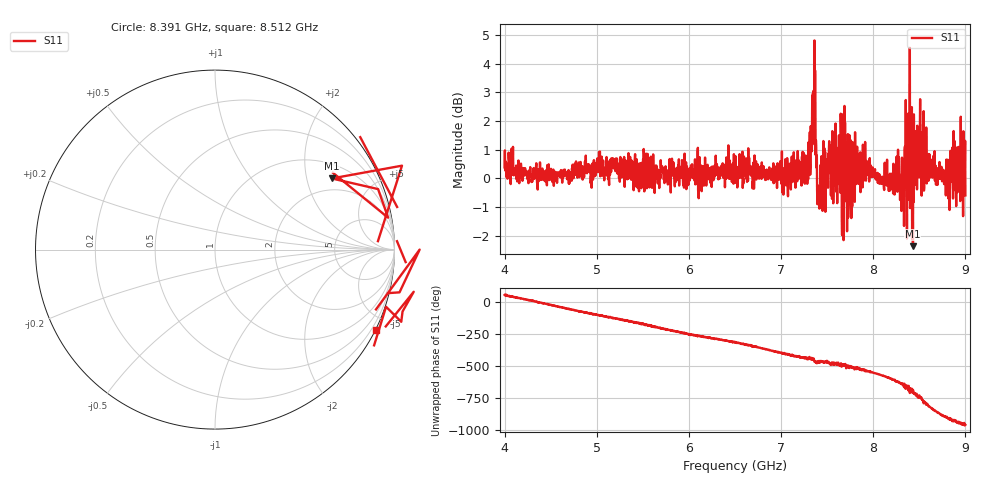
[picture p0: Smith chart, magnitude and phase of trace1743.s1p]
! Created with skrf 1.8.0 (http://scikit-rf.org).
# Hz S RI R 50.0
!freq ReS11 ImS11
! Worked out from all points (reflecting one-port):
!   1601 points, 4 GHz to 9 GHz, reference 50 ohm
!   lowest |S11| = -2.4 dB at 8.431 GHz (marker M1), VSWR 7.40, Z = 75.1 + j142 ohm
!   phase of S11 starts at 52 deg and turns -1014 deg over the sweep
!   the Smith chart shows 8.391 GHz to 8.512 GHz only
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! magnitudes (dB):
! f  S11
! 4 GHz  0.4
! 4.625 GHz  -0.1
! 5.25 GHz  -0.1
! 5.875 GHz  -0.1
! 6.5 GHz  0.5
! 7.125 GHz  0.3
! 7.294 GHz  0.0
! 7.347 GHz  2.9
! 7.362 GHz  4.8
! 7.4 GHz  -0.2
! 7.409 GHz  -0.4
! 7.512 GHz  0.9
! 7.591 GHz  1.9
! 7.672 GHz  2.2
! 7.75 GHz  0.4
! 7.784 GHz  0.1
! 7.891 GHz  0.3
! 8.097 GHz  0.1
! 8.259 GHz  0.8
! 8.312 GHz  0.7
! 8.375 GHz  -0.8
! 8.394 GHz  0.4
! 8.431 GHz  -2.4
! 8.522 GHz  1.6
! 8.606 GHz  0.0
! 8.806 GHz  0.4
! 8.972 GHz  0.3
! 9 GHz  -0.6
